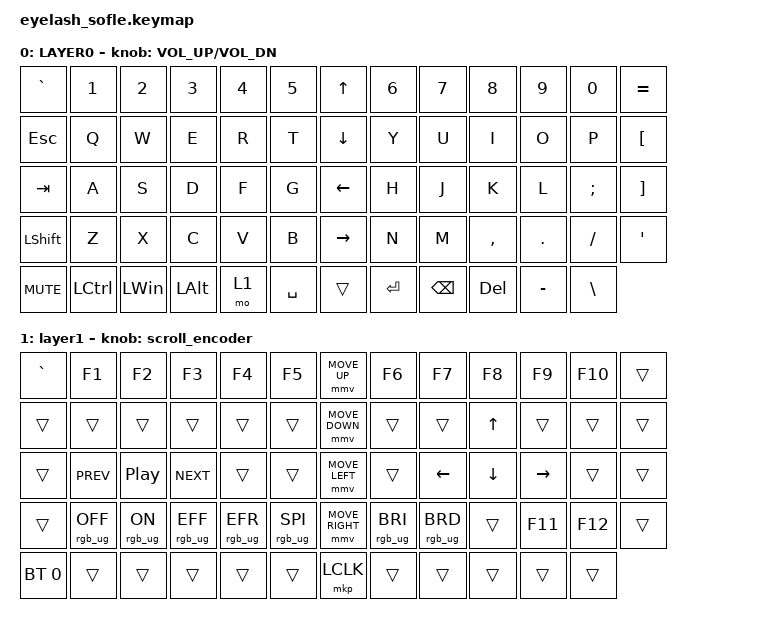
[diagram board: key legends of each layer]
#define ZMK_POINTING_DEFAULT_MOVE_VAL 1200  // 600
#define ZMK_POINTING_DEFAULT_SCRL_VAL 25   // 10

#include <input/processors.dtsi>
#include <zephyr/dt-bindings/input/input-event-codes.h>
#include <behaviors.dtsi>
#include <dt-bindings/zmk/bt.h>
#include <dt-bindings/zmk/keys.h>
#include <dt-bindings/zmk/pointing.h>
#include <dt-bindings/zmk/rgb.h>

&mmv_input_listener { input-processors = <&zip_xy_scaler 2 1>; };

&msc_input_listener { input-processors = <&zip_scroll_scaler 2 1>; };

&msc {
    acceleration-exponent = <1>;      // 0
    time-to-max-speed-ms = <100>;       // 300
    delay-ms = <0>;                   // 0
};

&mmv {
    time-to-max-speed-ms = <500>;
    acceleration-exponent = <1>;
    trigger-period-ms = <16>;
};

&soft_off { hold-time-ms = <2000>; };

/ {
    scroll_encoder: scroll_encoder {
        compatible = "zmk,behavior-sensor-rotate";
        #sensor-binding-cells = <0>;
        bindings = <&msc SCRL_DOWN>, <&msc SCRL_UP>;

        tap-ms = <100>;
    };

    behaviors {
    };

    combos {
        compatible = "zmk,combos";

        softoff {
            bindings = <&soft_off>;
            key-positions = <14 28 40>;
        };
    };

    macros {
        SHIFT_MCLK: SHIFT_MCLK {
            compatible = "zmk,behavior-macro";
            #binding-cells = <0>;
            bindings =
                <&macro_press>,
                <&kp LEFT_SHIFT>,
                <&macro_press>,
                <&mkp MB3>,
                <&macro_pause_for_release>,
                <&macro_release>,
                <&kp LEFT_SHIFT &mkp MB3>;

            label = "SHIFT_MCLK";
        };
    };

    keymap {
        compatible = "zmk,keymap";

        layer0 {
            bindings = <
&kp GRAVE       &kp N1            &kp N2    &kp N3        &kp N4  &kp N5       &kp UP_ARROW    &kp NUMBER_6  &kp N7         &kp N8      &kp NUMBER_9  &kp N0         &kp EQUAL
&kp ESCAPE      &kp Q             &kp W     &kp E         &kp R   &kp T        &kp DOWN_ARROW  &kp Y         &kp U          &kp I       &kp O         &kp P          &kp LEFT_BRACKET
&kp TAB         &kp A             &kp S     &kp D         &kp F   &kp G        &kp LEFT        &kp H         &kp J          &kp K       &kp L         &kp SEMICOLON  &kp RIGHT_BRACKET
&kp LEFT_SHIFT  &kp Z             &kp X     &kp C         &kp V   &kp B        &kp RIGHT       &kp N         &kp M          &kp COMMA   &kp PERIOD    &kp SLASH      &kp SQT
&kp K_MUTE      &kp LEFT_CONTROL  &kp LWIN  &kp LEFT_ALT  &mo 1   &kp SPACE    &trans          &kp ENTER     &kp BACKSPACE  &kp DELETE  &kp MINUS     &kp BSLH
            >;

            sensor-bindings = <&inc_dec_kp C_VOLUME_UP C_VOL_DN>;
            display-name = "LAYER0";
        };

        layer_1 {
            bindings = <
&kp GRAVE     &kp F1           &kp F2          &kp F3           &kp F4           &kp F5             &mmv MOVE_UP     &kp F6           &kp F7           &kp F8    &kp F9     &kp F10  &trans
&trans        &trans           &trans          &trans           &trans           &trans             &mmv MOVE_DOWN   &trans           &trans           &kp UP    &trans     &trans   &trans
&trans        &kp C_PREV       &kp C_PP        &kp C_NEXT       &trans           &trans             &mmv MOVE_LEFT   &trans           &kp LEFT         &kp DOWN  &kp RIGHT  &trans   &trans
&trans        &rgb_ug RGB_OFF  &rgb_ug RGB_ON  &rgb_ug RGB_EFF  &rgb_ug RGB_EFR  &rgb_ug RGB_SPI    &mmv MOVE_RIGHT  &rgb_ug RGB_BRI  &rgb_ug RGB_BRD  &trans    &kp F11    &kp F12  &trans
&bt BT_SEL 0  &trans           &trans          &trans           &trans           &trans             &mkp LCLK        &trans           &trans           &trans    &trans     &trans
            >;

            display-name = "layer1";
            sensor-bindings = <&scroll_encoder>;
        };
    };
};
